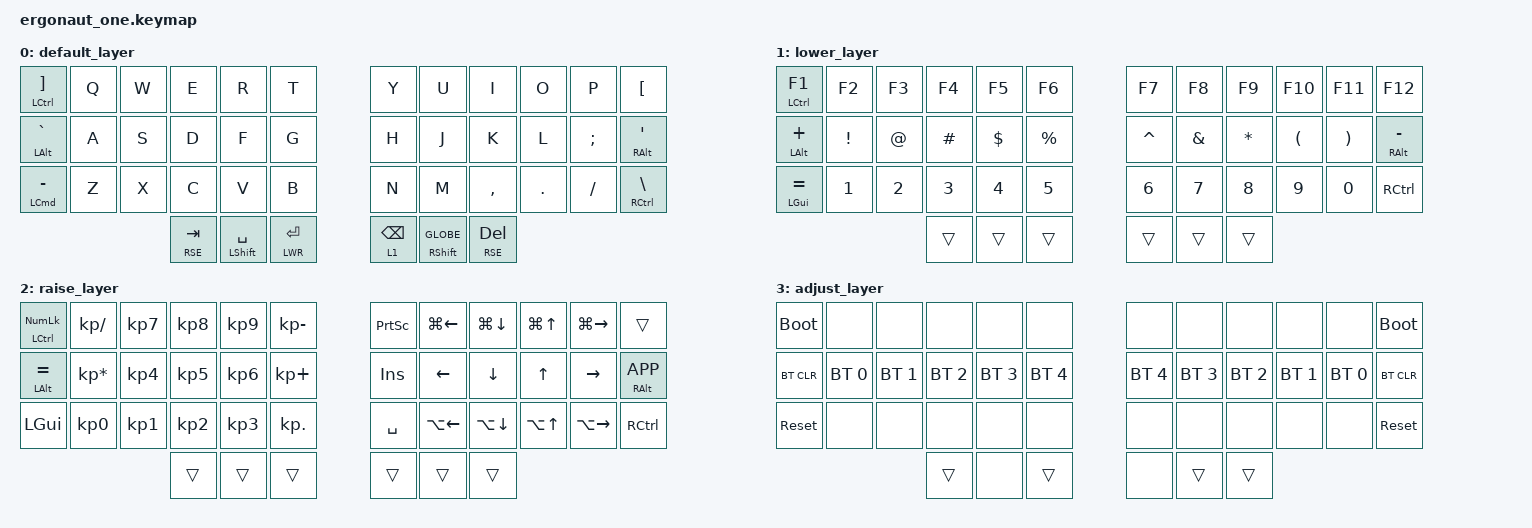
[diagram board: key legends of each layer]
#include <behaviors.dtsi>
#include <dt-bindings/zmk/bt.h>
#include <dt-bindings/zmk/keys.h>

#define DEF 0
#define LWR 1
#define RSE 2
#define ADJ 3

&lt { quick-tap-ms = <200>; };

&mt { quick-tap-ms = <200>; };

/ {
    conditional_layers {
        compatible = "zmk,conditional-layers";

        tri-layer {
            if-layers = <1 2>;
            then-layer = <3>;
        };
    };

    combos {
        compatible = "zmk,combos";

        combo_esc {
            bindings = <&kp ESCAPE>;
            key-positions = <0 1>;
        };

        combo_caps_word {
            bindings = <&caps_word>;
            key-positions = <24 35>;
        };

        combo_ctrl_c {
            bindings = <&kp LC(C)>;
            key-positions = <26 27>;
        };

        combo_ctrl_x {
            bindings = <&kp LC(X)>;
            key-positions = <25 26>;
        };

        combo_ctrl_v {
            bindings = <&kp LC(V)>;
            key-positions = <28 27>;
        };
    };

    behaviors {
        smt: smt {
            compatible = "zmk,behavior-hold-tap";
            label = "SMT";
            bindings = <&kp>, <&kp>;

            #binding-cells = <2>;
            tapping-term-ms = <200>;
        };

        clrw: clrw {
            compatible = "zmk,behavior-tap-dance";
            label = "CLRW";
            #binding-cells = <0>;
            bindings = <&lt 1 BACKSPACE>, <&kp LA(BACKSPACE)>;
        };
    };

    keymap {
        compatible = "zmk,keymap";

        default_layer {
            bindings = <
&mt LEFT_CONTROL RBKT   &kp Q  &kp W  &kp E        &kp R             &kp T        &kp Y            &kp U                  &kp I        &kp O    &kp P     &kp LBKT
&mt LALT GRAVE          &kp A  &kp S  &kp D        &kp F             &kp G        &kp H            &kp J                  &kp K        &kp L    &kp SEMI  &mt RALT SQT
&mt LEFT_COMMAND MINUS  &kp Z  &kp X  &kp C        &kp V             &kp B        &kp N            &kp M                  &kp COMMA    &kp DOT  &kp FSLH  &mt RCTRL BSLH
                                      &lt RSE TAB  &smt LSHFT SPACE  &lt LWR RET  &lt 1 BACKSPACE  &mt RIGHT_SHIFT GLOBE  &lt RSE DEL
            >;
        };

        lower_layer {
            bindings = <
&mt LCTRL F1    &kp F2    &kp F3  &kp F4    &kp F5    &kp F6     &kp F7     &kp F8    &kp F9    &kp F10   &kp F11   &kp F12
&mt LALT PLUS   &kp EXCL  &kp AT  &kp HASH  &kp DLLR  &kp PRCNT  &kp CARET  &kp AMPS  &kp STAR  &kp LPAR  &kp RPAR  &mt RALT MINUS
&mt LGUI EQUAL  &kp N1    &kp N2  &kp N3    &kp N4    &kp N5     &kp N6     &kp N7    &kp N8    &kp N9    &kp N0    &kp RCTRL
                                  &trans    &trans    &trans     &trans     &trans    &trans
            >;
        };

        raise_layer {
            bindings = <
&mt LCTRL KP_NUM  &kp KP_SLASH     &kp KP_N7  &kp KP_N8  &kp KP_N9  &kp KP_MINUS  &kp PRINTSCREEN  &kp LG(LEFT)  &kp LG(DOWN_ARROW)  &kp LG(UP_ARROW)  &kp LG(RIGHT)  &trans
&mt LALT EQUAL    &kp KP_MULTIPLY  &kp KP_N4  &kp KP_N5  &kp KP_N6  &kp KP_PLUS   &kp INS          &kp LEFT      &kp DOWN            &kp UP            &kp RIGHT      &mt RALT K_APP
&kp LGUI          &kp KP_N0        &kp KP_N1  &kp KP_N2  &kp KP_N3  &kp KP_DOT    &kp SPACE        &kp LA(LEFT)  &kp LA(DOWN)        &kp LA(UP)        &kp LA(RIGHT)  &kp RIGHT_CONTROL
                                              &trans     &trans     &trans        &trans           &trans        &trans
            >;
        };

        adjust_layer {
            bindings = <
&bootloader  &none         &none         &none         &none         &none         &none         &none         &none         &none         &none         &bootloader
&bt BT_CLR   &bt BT_SEL 0  &bt BT_SEL 1  &bt BT_SEL 2  &bt BT_SEL 3  &bt BT_SEL 4  &bt BT_SEL 4  &bt BT_SEL 3  &bt BT_SEL 2  &bt BT_SEL 1  &bt BT_SEL 0  &bt BT_CLR
&sys_reset   &none         &none         &none         &none         &none         &none         &none         &none         &none         &none         &sys_reset
                                         &trans        &none         &trans        &none         &trans        &trans
            >;
        };
    };
};
